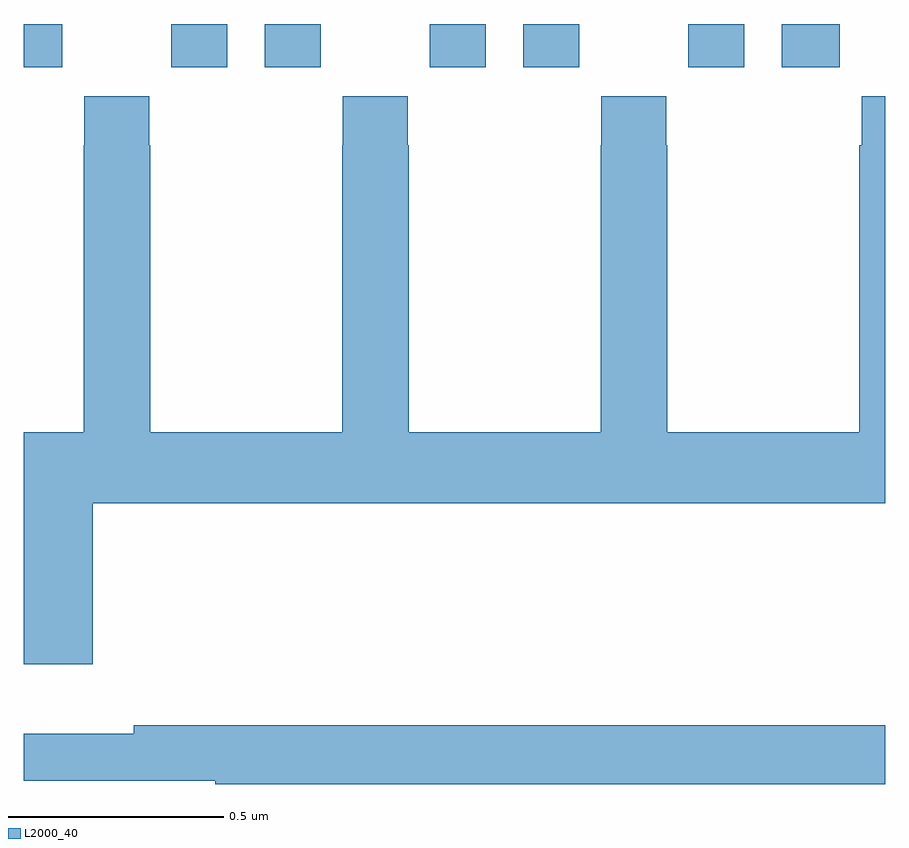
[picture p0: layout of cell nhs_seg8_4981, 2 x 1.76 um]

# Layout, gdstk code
import gdstk
lib = gdstk.Library(unit=1e-6, precision=1e-09)
def R(c, l, rs):  # rectangles x0, y0, x1, y1
    for r in rs: c.add(gdstk.rectangle(r[:2], r[2:], *l))
def P(c, l, *ps):  # polygons
    for p in ps: c.add(gdstk.Polygon(p, *l))
L2000_40 = (2000, 40)

nhs_seg8_4981 = lib.new_cell('nhs_seg8_4981')
R(nhs_seg8_4981, L2000_40, [(177,1162.8,177.09,1162.9), (177.342,1162.8,177.472,1162.9), (177.56,1162.8,177.69,1162.9), (177.942,1162.8,178.072,1162.9), (178.16,1162.8,178.29,1162.9), (178.542,1162.8,178.672,1162.9), (178.76,1162.8,178.894,1162.9)])
P(nhs_seg8_4981, L2000_40, [(177.16,1161.788),(179,1161.788),(179,1162.732),(178.945,1162.732),(178.945,1162.619),(178.939,1162.619),(178.939,1161.952),(178.494,1161.952),(178.494,1162.619),(178.491,1162.619),(178.491,1162.732),(178.341,1162.732),(178.341,1162.619),(178.339,1162.619),(178.339,1161.952),(177.894,1161.952),(177.894,1162.619),(177.891,1162.619),(177.891,1162.732),(177.741,1162.732),(177.741,1162.619),(177.739,1162.619),(177.739,1161.952),(177.294,1161.952),(177.294,1162.619),(177.291,1162.619),(177.291,1162.732),(177.141,1162.732),(177.141,1162.619),(177.139,1162.619),(177.139,1161.952),(177,1161.952),(177,1161.414),(177.16,1161.414)],
  [(179,1161.272),(177.256,1161.272),(177.256,1161.253),(177,1161.253),(177,1161.144),(177.445,1161.144),(177.445,1161.136),(179,1161.136)])

lib.write_gds('nhs_seg8_4981.gds')
